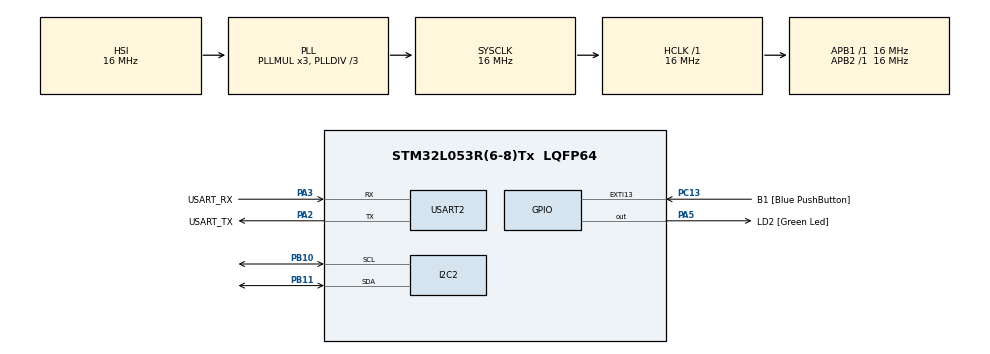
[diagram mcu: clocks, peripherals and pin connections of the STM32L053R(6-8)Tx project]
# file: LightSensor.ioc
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I2C2.Timing=0x00303D5B
Mcu.Family=STM32L0
Mcu.Name=STM32L053R(6-8)Tx
Mcu.Package=LQFP64
NVIC.TIM2_IRQn=true\:3\:0\:false\:false\:true\:false\:true\:true
NVIC.TimeBase=TIM2_IRQn
NVIC.TimeBaseIP=TIM2
NVIC.USART2_IRQn=true\:0\:0\:false\:false\:true\:true\:true\:true
PA13.GPIO_Label=TMS
PA13.Mode=Serial_Wire
PA13.Signal=SYS_SWDIO
PA14.GPIO_Label=TCK
PA14.Mode=Serial_Wire
PA14.Signal=SYS_SWCLK
PA2.GPIO_Label=USART_TX
PA2.Mode=Asynchronous
PA2.Signal=USART2_TX
PA3.GPIO_Label=USART_RX
PA3.Mode=Asynchronous
PA3.Signal=USART2_RX
PA5.GPIO_Label=LD2 [Green Led]
PA5.Signal=GPIO_Output
PB10.Mode=I2C
PB10.Signal=I2C2_SCL
PB11.Mode=I2C
PB11.Signal=I2C2_SDA
PC13.GPIO_Label=B1 [Blue PushButton]
PC13.GPIO_ModeDefaultEXTI=GPIO_MODE_IT_FALLING
PC13.Signal=GPXTI13
ProjectManager.HeapSize=0x200
ProjectManager.StackSize=0x400
ProjectManager.TargetToolchain=Makefile
RCC.AHBFreq_Value=16000000
RCC.APB1Freq_Value=16000000
RCC.APB1TimFreq_Value=16000000
RCC.APB2Freq_Value=16000000
RCC.APB2TimFreq_Value=16000000
RCC.HCLKFreq_Value=16000000
RCC.HSE_VALUE=8000000
RCC.HSI16_VALUE=16000000
RCC.HSI48_VALUE=48000000
RCC.HSI_VALUE=16000000
RCC.LSE_VALUE=32768
RCC.MSI_VALUE=2097000
RCC.PLLDIV=RCC_PLLDIV_3
RCC.SYSCLKFreq_VALUE=16000000
RCC.SYSCLKSource=RCC_SYSCLKSOURCE_PLLCLK
RCC.VCOOutputFreq_Value=48000000
USART2.VirtualMode-Asynchronous=VM_ASYNC
VP_SYS_VS_tim2.Mode=TIM2
board=NUCLEO-L053R8

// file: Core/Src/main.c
/* USER CODE BEGIN Header */
/**
  ******************************************************************************
  * @file           : main.c
  * @brief          : Main program body
  ******************************************************************************
  * @attention
  *
  * Copyright (c) 2022 STMicroelectronics.
  * All rights reserved.
  *
  * This software is licensed under terms that can be found in the LICENSE file
  * in the root directory of this software component.
  * If no LICENSE file comes with this software, it is provided AS-IS.
  *
  ******************************************************************************
  */
/* USER CODE END Header */
#include "main.h"
#include "i2c.h"
#include "usart.h"
#include "gpio.h"

/* USER CODE BEGIN Includes */
#include <stdio.h>
#include "ring_buffer.h"
#include "bh1750.h"
#include "helpers.h"
/* USER CODE END Includes */

void SystemClock_Config(void);

/* USER CODE BEGIN 0 */
static char message[] = "Hello World!\r\n";
// UART transmit buffer descriptor
RingBuffer UART_RingBuffer_Tx;
// UART transmit buffer memory pool
char RingBufferData_Tx[1024];

// UART receive buffer descriptor
RingBuffer UART_RingBuffer_Rx;
// UART receive buffer memory pool
char RingBufferData_Rx[1024];

char Response_Rx[1024];
uint8_t uart_rx_buffer;

uint8_t readyToRead;
uint8_t readyToSend;

BH1750_t sensor1;

void HAL_UART_TxCpltCallback(UART_HandleTypeDef *huart)
{
  if (huart == &huart2) {
  }
}

void HAL_UART_RxCpltCallback(UART_HandleTypeDef *huart)
{
  if (huart == &huart2) {
	  char_append(uart_rx_buffer);
    HAL_UART_Receive_IT(&huart2, &uart_rx_buffer, 1);
  }
}
/* USER CODE END 0 */

int main(void)
{

  /* MCU Configuration--------------------------------------------------------*/

  /* Reset of all peripherals, Initializes the Flash interface and the Systick. */
  HAL_Init();

  /* USER CODE BEGIN Init */
  RingBuffer_Init(&UART_RingBuffer_Tx, &RingBufferData_Tx, 1024);
  RingBuffer_Init(&UART_RingBuffer_Rx, &RingBufferData_Rx, 1024);
  /* USER CODE END Init */

  /* Configure the system clock */
  SystemClock_Config();

  /* Initialize all configured peripherals */
  MX_GPIO_Init();
  MX_USART2_UART_Init();
  MX_I2C2_Init();
  /* USER CODE BEGIN 2 */
  BH1750_t sensor1 =
  {
    .BH1750_i2c = &hi2c2,
    .BH1750_Mode = CONTINUOUS_H_RESOLUTION_MODE_2,
    .BH1750_MTreg = BH1750_DEFAULT_MTREG,
    .BH1750_ADDR = (0x23<<1)
  };

  BH1750_Init(&sensor1);

  /* USER CODE END 2 */

  /* Infinite loop */
  /* USER CODE BEGIN WHILE */
  UART_WriteString(message);
  readyToRead = 0;
  readyToSend = 0;

  HAL_UART_Receive_IT(&huart2, &uart_rx_buffer, 1);

  float BH1750_lux;

  while (1)
  {
    /* USER CODE END WHILE */

    /* USER CODE BEGIN 3 */
    if(readyToRead){
      UART_ReadResponse();
      readyToRead = 0;
    }

    if (readyToSend)
    {
      char toSend[32];
      if (readyToSend == 1) // read value from light sensor
      {
        if (BH1750_OK == BH1750_Read(&sensor1, &BH1750_lux))
        {
          uint16_t finalSize = sprintf(toSend, "%.2f\r\n", BH1750_lux);
          HAL_UART_Transmit(&huart2, (uint8_t *)toSend, finalSize, 100);
        }
        else {
          uint16_t finalSize = sprintf(toSend, "ERROR: sensor read\r\n");
          HAL_UART_Transmit(&huart2, (uint8_t *)toSend, finalSize, 100);
        }
      }
      else if (readyToSend == 2) // increase sensitivity
      {

        if (BH1750_OK == BH1750_setMTreg(&sensor1, (sensor1.BH1750_MTreg + 10)))
        {
          uint16_t finalSize = sprintf(toSend, "Sensitivity increased.\r\n");
          HAL_UART_Transmit(&huart2, (uint8_t *)toSend, finalSize, 100);
        }
        else {
          uint16_t finalSize = sprintf(toSend, "ERROR: unable to incSens\r\n");
          HAL_UART_Transmit(&huart2, (uint8_t *)toSend, finalSize, 100);
        }
      }
      else if (readyToSend == 3) // decrease sensitivity
      {
        if (BH1750_OK == BH1750_setMTreg(&sensor1, (sensor1.BH1750_MTreg - 10)))
        {
          uint16_t finalSize = sprintf(toSend, "Sensitivity decreased.\r\n");
          HAL_UART_Transmit(&huart2, (uint8_t *)toSend, finalSize, 100);
        }
        else {
          uint16_t finalSize = sprintf(toSend, "ERROR: unable to decSens\r\n");
          HAL_UART_Transmit(&huart2, (uint8_t *)toSend, finalSize, 100);
        }
      }
      else if (readyToSend == 4) // help
      {
        char toSend[130];
        uint16_t finalSize = sprintf(toSend, "Accessible commands:;- readValue - read value rom light sensor;- incSens - increase sensitivity;- decSens - decrease sensitivity\r\n");
        HAL_UART_Transmit(&huart2, (uint8_t *)toSend, finalSize, 100);
      }
      else if (readyToSend == 5) //unknown command
      {
        uint16_t finalSize = sprintf(toSend, "ERROR: command not found\r\n");
        HAL_UART_Transmit(&huart2, (uint8_t *)toSend, finalSize, 100);
      }

      readyToSend = 0;
    }
  }
  /* USER CODE END 3 */
}

void SystemClock_Config(void)
{
  RCC_OscInitTypeDef RCC_OscInitStruct = {0};
  RCC_ClkInitTypeDef RCC_ClkInitStruct = {0};
  RCC_PeriphCLKInitTypeDef PeriphClkInit = {0};

  /** Configure the main internal regulator output voltage
  */
  __HAL_PWR_VOLTAGESCALING_CONFIG(PWR_REGULATOR_VOLTAGE_SCALE1);

  /** Initializes the RCC Oscillators according to the specified parameters
  * in the RCC_OscInitTypeDef structure.
  */
  RCC_OscInitStruct.OscillatorType = RCC_OSCILLATORTYPE_HSI;
  RCC_OscInitStruct.HSIState = RCC_HSI_ON;
  RCC_OscInitStruct.HSICalibrationValue = RCC_HSICALIBRATION_DEFAULT;
  RCC_OscInitStruct.PLL.PLLState = RCC_PLL_ON;
  RCC_OscInitStruct.PLL.PLLSource = RCC_PLLSOURCE_HSI;
  RCC_OscInitStruct.PLL.PLLMUL = RCC_PLLMUL_3;
  RCC_OscInitStruct.PLL.PLLDIV = RCC_PLLDIV_3;
  if (HAL_RCC_OscConfig(&RCC_OscInitStruct) != HAL_OK)
  {
    Error_Handler();
  }

  /** Initializes the CPU, AHB and APB buses clocks
  */
  RCC_ClkInitStruct.ClockType = RCC_CLOCKTYPE_HCLK|RCC_CLOCKTYPE_SYSCLK
                              |RCC_CLOCKTYPE_PCLK1|RCC_CLOCKTYPE_PCLK2;
  RCC_ClkInitStruct.SYSCLKSource = RCC_SYSCLKSOURCE_PLLCLK;
  RCC_ClkInitStruct.AHBCLKDivider = RCC_SYSCLK_DIV1;
  RCC_ClkInitStruct.APB1CLKDivider = RCC_HCLK_DIV1;
  RCC_ClkInitStruct.APB2CLKDivider = RCC_HCLK_DIV1;

  if (HAL_RCC_ClockConfig(&RCC_ClkInitStruct, FLASH_LATENCY_0) != HAL_OK)
  {
    Error_Handler();
  }
  PeriphClkInit.PeriphClockSelection = RCC_PERIPHCLK_USART2;
  PeriphClkInit.Usart2ClockSelection = RCC_USART2CLKSOURCE_PCLK1;
  if (HAL_RCCEx_PeriphCLKConfig(&PeriphClkInit) != HAL_OK)
  {
    Error_Handler();
  }
}

void HAL_TIM_PeriodElapsedCallback(TIM_HandleTypeDef *htim)
{
  if (htim->Instance == TIM2) {
    HAL_IncTick();
  }
}

void Error_Handler(void)
{
  __disable_irq();
  while (1)
  {
  }
}
